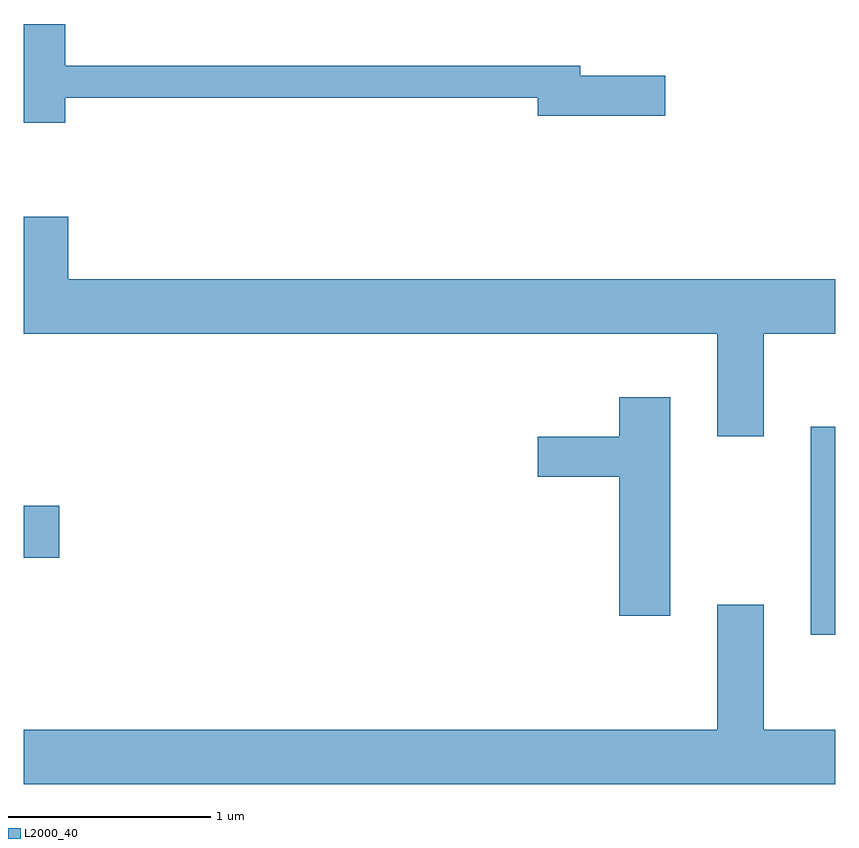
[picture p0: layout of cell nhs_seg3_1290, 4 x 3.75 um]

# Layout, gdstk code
import gdstk
lib = gdstk.Library(unit=1e-6, precision=1e-09)
def R(c, l, rs):  # rectangles x0, y0, x1, y1
    for r in rs: c.add(gdstk.rectangle(r[:2], r[2:], *l))
def P(c, l, *ps):  # polygons
    for p in ps: c.add(gdstk.Polygon(p, *l))
L2000_40 = (2000, 40)

nhs_seg3_1290 = lib.new_cell('nhs_seg3_1290')
R(nhs_seg3_1290, L2000_40, [(225.491,1248.851,225.611,1249.879), (221.611,1249.231,221.784,1249.489)])
P(nhs_seg3_1290, L2000_40, [(221.814,1251.501),(224.146,1251.501),(224.146,1251.411),(224.774,1251.411),(224.774,1251.609),(224.354,1251.609),(224.354,1251.659),(221.814,1251.659),(221.814,1251.864),(221.611,1251.864),(221.611,1251.376),(221.814,1251.376)],
  [(225.259,1250.336),(225.611,1250.336),(225.611,1250.604),(221.829,1250.604),(221.829,1250.914),(221.611,1250.914),(221.611,1250.336),(225.031,1250.336),(225.031,1249.831),(225.259,1249.831)],
  [(224.799,1250.024),(224.546,1250.024),(224.546,1249.829),(224.146,1249.829),(224.146,1249.631),(224.546,1249.631),(224.546,1248.946),(224.799,1248.946)],
  [(225.611,1248.384),(225.259,1248.384),(225.259,1248.999),(225.031,1248.999),(225.031,1248.384),(221.611,1248.384),(221.611,1248.116),(225.611,1248.116)])

lib.write_gds('nhs_seg3_1290.gds')
